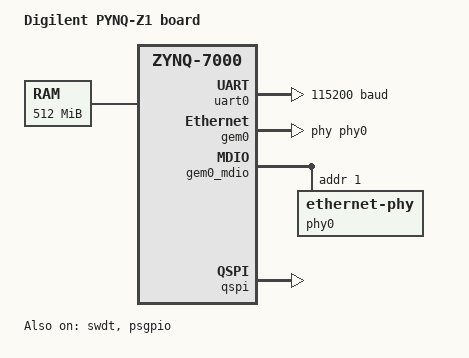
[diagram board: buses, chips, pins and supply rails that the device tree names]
/*
 * Copyright (c) 2026 Radu Pirea
 *
 * SPDX-License-Identifier: Apache-2.0
 */

/dts-v1/;
#include <xilinx/zynq7000.dtsi>
#include <zephyr/dt-bindings/clock/xlnx-ps7-clkc.h>

#include "pynq_z1-pinctrl.dtsi"

/ {
	model = "Digilent PYNQ-Z1 board";
	compatible = "digilent,zynq-pynq-z1", "xlnx,zynq-7000";

	chosen {
		zephyr,sram = &sram0;
		zephyr,console = &uart0;
		zephyr,shell-uart = &uart0;
		zephyr,ocm = &ocm_high;
	};

	cpus {
		#address-cells = <1>;
		#size-cells = <0>;

		cpu0: cpu@0 {
			device_type = "cpu";
			compatible = "arm,cortex-a9";
			reg = <0>;
		};

		cpu1: cpu@1 {
			device_type = "cpu";
			compatible = "arm,cortex-a9";
			reg = <1>;
		};
	};

	sram0: memory@0 {
		compatible = "mmio-sram";
		reg = <0x00000000 DT_SIZE_M(512)>;
	};
};

&uart0 {
	status = "okay";
	current-speed = <115200>;
	clocks = <&clkc XLNX_PS7_CLK_UART0>;
	pinctrl-0 = <&pinctrl_uart0_default>;
	pinctrl-names = "default";
};

/*
 * The board's only Ethernet interface. The GEM driver has no pinctrl support,
 * so the RGMII multiplexing on MIO16..MIO27 and the MDIO multiplexing on
 * MIO52/MIO53 are left to the PS initialization performed by the boot loader.
 * The GEM divides the IO PLL down to the TX clock the link speed needs.
 */
&gem0 {
	status = "okay";
	clocks = <&clkc XLNX_PS7_CLK_IOPLL>;
	phy-handle = <&phy0>;
	pinctrl-0 = <&pinctrl_ethernet0_default>, <&pinctrl_mdio0_default>;
	pinctrl-names = "default";
};

&gem0_mdio {
	status = "okay";

	phy0: ethernet-phy@1 {
		compatible = "ethernet-phy";
		reg = <1>;
		status = "okay";
	};
};

/*
 * The QSPI flash the board boots from, on MIO1..MIO6 with the feedback clock on
 * MIO8. The fitted 16 MiB device differs between board revisions, so no flash
 * node is defined here; add one for the device actually fitted, as a child of
 * this node in an application overlay.
 */
&qspi {
	status = "okay";
	clocks = <&clkc XLNX_PS7_CLK_LQSPI>;
};

&swdt {
	status = "okay";
	clocks = <&clkc XLNX_PS7_CLK_SWDT>;
};

/* PS_CLK, from which the three PLLs derive every clock of the processing system */
&clkc {
	status = "okay";
	ps-clk-frequency = <50000000>;
};

&psgpio {
	status = "okay";
};
